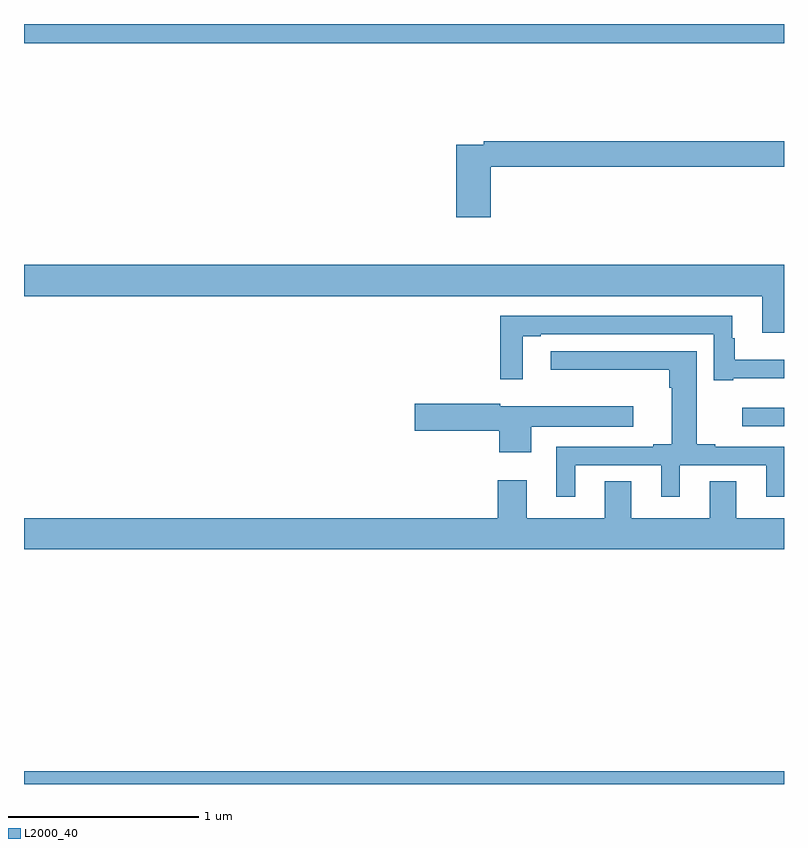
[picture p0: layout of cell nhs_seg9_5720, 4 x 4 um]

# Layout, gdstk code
import gdstk
lib = gdstk.Library(unit=1e-6, precision=1e-09)
def R(c, l, rs):  # rectangles x0, y0, x1, y1
    for r in rs: c.add(gdstk.rectangle(r[:2], r[2:], *l))
def P(c, l, *ps):  # polygons
    for p in ps: c.add(gdstk.Polygon(p, *l))
L2000_40 = (2000, 40)

nhs_seg9_5720 = lib.new_cell('nhs_seg9_5720')
R(nhs_seg9_5720, L2000_40, [(443,1212.5,447,1212.568), (446.781,1214.382,447,1214.479), (443,1216.4,447,1216.5)])
P(nhs_seg9_5720, L2000_40, [(445.457,1215.748),(447,1215.748),(447,1215.884),(445.42,1215.884),(445.42,1215.864),(445.274,1215.864),(445.274,1215.483),(445.457,1215.483)],
  [(447,1215.232),(443,1215.232),(443,1215.068),(446.885,1215.068),(446.885,1214.874),(447,1214.874)],
  [(446.734,1214.636),(447,1214.636),(447,1214.734),(446.74,1214.734),(446.74,1214.846),(446.728,1214.846),(446.728,1214.964),(445.507,1214.964),(445.507,1214.631),(445.624,1214.631),(445.624,1214.856),(445.72,1214.856),(445.72,1214.868),(446.631,1214.868),(446.631,1214.625),(446.734,1214.625)],
  [(445.9,1214.178),(446.354,1214.178),(446.354,1214.013),(446.452,1214.013),(446.452,1214.178),(446.906,1214.178),(446.906,1214.013),(447,1214.013),(447,1214.274),(446.638,1214.274),(446.638,1214.287),(446.542,1214.287),(446.542,1214.778),(445.773,1214.778),(445.773,1214.681),(446.396,1214.681),(446.396,1214.585),(446.408,1214.585),(446.408,1214.287),(446.312,1214.287),(446.312,1214.274),(445.802,1214.274),(445.802,1214.013),(445.9,1214.013)],
  [(445.669,1214.381),(446.206,1214.381),(446.206,1214.488),(445.506,1214.488),(445.506,1214.501),(445.056,1214.501),(445.056,1214.359),(445.502,1214.359),(445.502,1214.247),(445.669,1214.247)],
  [(447,1213.9),(446.749,1213.9),(446.749,1214.093),(446.609,1214.093),(446.609,1213.9),(446.197,1213.9),(446.197,1214.093),(446.057,1214.093),(446.057,1213.9),(445.645,1213.9),(445.645,1214.098),(445.493,1214.098),(445.493,1213.9),(443,1213.9),(443,1213.736),(447,1213.736)])

lib.write_gds('nhs_seg9_5720.gds')
